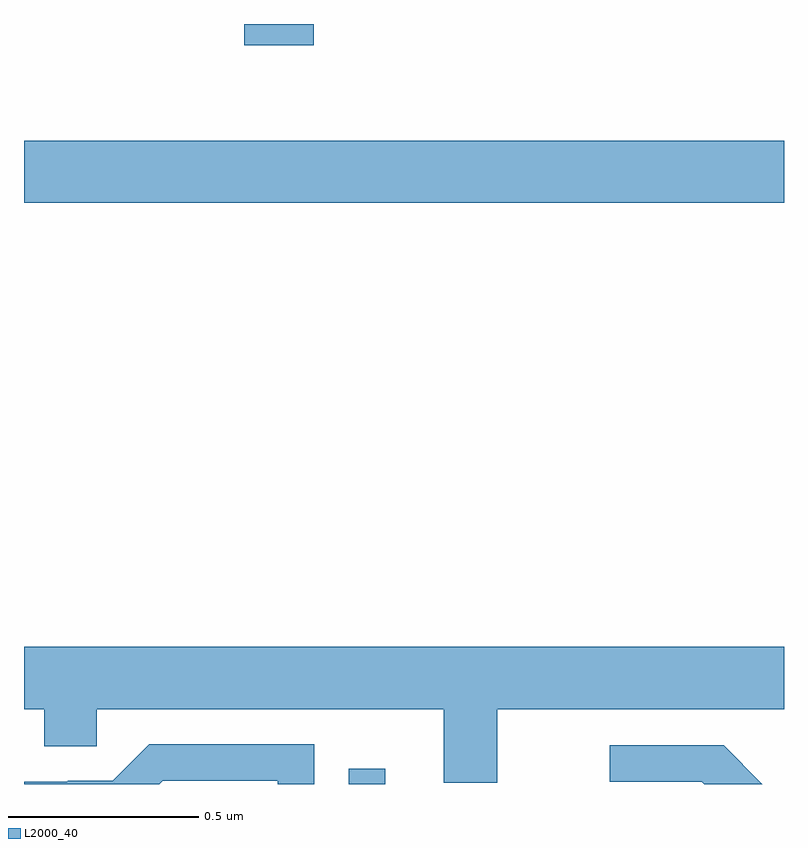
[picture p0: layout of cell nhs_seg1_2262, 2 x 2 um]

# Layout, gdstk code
import gdstk
lib = gdstk.Library(unit=1e-6, precision=1e-09)
def R(c, l, rs):  # rectangles x0, y0, x1, y1
    for r in rs: c.add(gdstk.rectangle(r[:2], r[2:], *l))
def P(c, l, *ps):  # polygons
    for p in ps: c.add(gdstk.Polygon(p, *l))
L2000_40 = (2000, 40)

nhs_seg1_2262 = lib.new_cell('nhs_seg1_2262')
R(nhs_seg1_2262, L2000_40, [(139.855,554.199,139.951,554.239), (139,555.728,141,555.892), (139.58,556.143,139.763,556.199)])
P(nhs_seg1_2262, L2000_40, [(140.245,554.396),(141,554.396),(141,554.56),(139,554.56),(139,554.396),(139.053,554.396),(139.053,554.298),(139.191,554.298),(139.191,554.396),(140.105,554.396),(140.105,554.202),(140.245,554.202)],
  [(139.365,554.208),(139.668,554.208),(139.668,554.199),(139.764,554.199),(139.764,554.304),(139.329,554.304),(139.233,554.208),(139.115,554.208),(139.115,554.205),(139,554.205),(139,554.199),(139.356,554.199)],
  [(140.841,554.301),(140.541,554.301),(140.541,554.205),(140.784,554.205),(140.79,554.199),(140.943,554.199)])

lib.write_gds('nhs_seg1_2262.gds')
